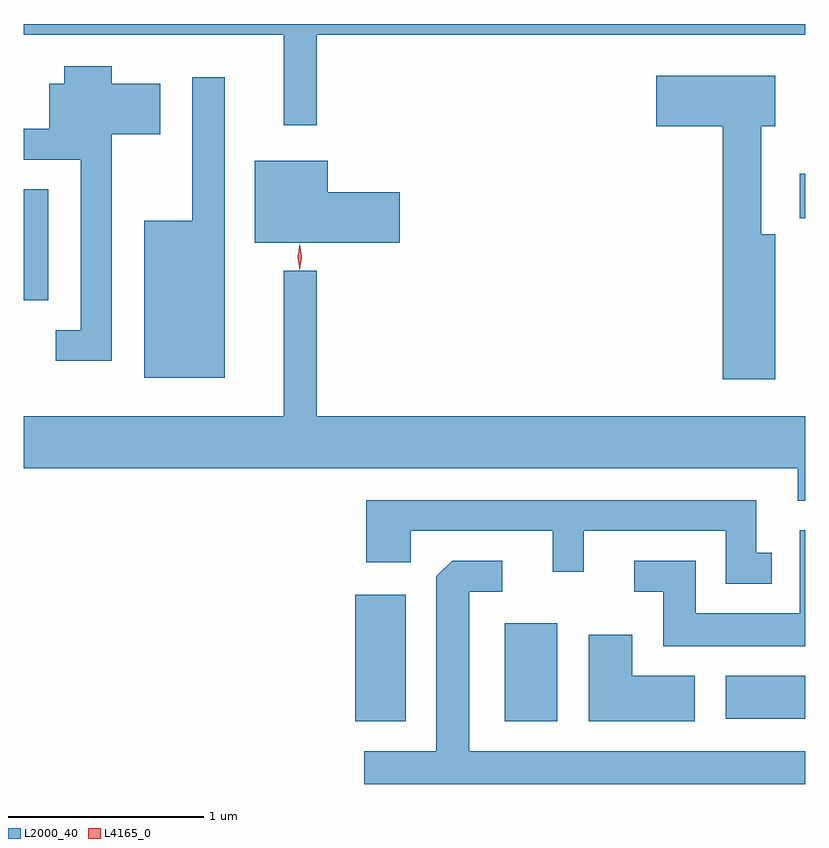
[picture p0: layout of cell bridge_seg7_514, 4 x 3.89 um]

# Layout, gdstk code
import gdstk
lib = gdstk.Library(unit=1e-6, precision=1e-09)
def R(c, l, rs):  # rectangles x0, y0, x1, y1
    for r in rs: c.add(gdstk.rectangle(r[:2], r[2:], *l))
def P(c, l, *ps):  # polygons
    for p in ps: c.add(gdstk.Polygon(p, *l))
L2000_40 = (2000, 40)
L4165_0 = (4165, 0)

bridge_seg7_514 = lib.new_cell('bridge_seg7_514')
R(bridge_seg7_514, L2000_40, [(856.846,1735.221,857.104,1735.869), (857.611,1735.221,857.879,1735.724), (858.741,1735.236,859.149,1735.454), (855.149,1737.376,855.274,1737.944), (859.121,1737.796,859.149,1738.024)])
P(bridge_seg7_514, L2000_40, [(856.649,1738.736),(859.149,1738.736),(859.149,1738.79),(855.149,1738.79),(855.149,1738.736),(856.481,1738.736),(856.481,1738.273),(856.649,1738.273)],
  [(855.599,1738.226),(855.849,1738.226),(855.849,1738.484),(855.599,1738.484),(855.599,1738.574),(855.356,1738.574),(855.356,1738.484),(855.281,1738.484),(855.281,1738.254),(855.149,1738.254),(855.149,1738.096),(855.441,1738.096),(855.441,1737.224),(855.313,1737.224),(855.313,1737.066),(855.599,1737.066)],
  [(858.994,1737.714),(858.924,1737.714),(858.924,1738.266),(858.994,1738.266),(858.994,1738.524),(858.386,1738.524),(858.386,1738.266),(858.726,1738.266),(858.726,1736.971),(858.994,1736.971)],
  [(856.179,1738.518),(856.011,1738.518),(856.011,1737.784),(855.766,1737.784),(855.766,1736.981),(856.179,1736.981)],
  [(857.074,1737.929),(856.704,1737.929),(856.704,1738.089),(856.331,1738.089),(856.331,1737.671),(857.074,1737.671)],
  [(859.149,1736.784),(856.649,1736.784),(856.649,1737.528),(856.481,1737.528),(856.481,1736.784),(855.149,1736.784),(855.149,1736.516),(859.111,1736.516),(859.111,1736.351),(859.149,1736.351)],
  [(858.978,1736.084),(858.899,1736.084),(858.899,1736.354),(856.901,1736.354),(856.901,1736.036),(857.129,1736.036),(857.129,1736.196),(857.856,1736.196),(857.856,1735.988),(858.014,1735.988),(858.014,1736.196),(858.741,1736.196),(858.741,1735.926),(858.978,1735.926)],
  [(859.149,1736.199),(859.121,1736.199),(859.121,1735.774),(858.589,1735.774),(858.589,1736.044),(858.273,1736.044),(858.273,1735.886),(858.421,1735.886),(858.421,1735.606),(859.149,1735.606)],
  [(859.149,1735.069),(857.429,1735.069),(857.429,1735.886),(857.598,1735.886),(857.598,1736.044),(857.342,1736.044),(857.261,1735.964),(857.261,1735.069),(856.893,1735.069),(856.893,1734.901),(859.149,1734.901)],
  [(858.584,1735.454),(858.264,1735.454),(858.264,1735.664),(858.041,1735.664),(858.041,1735.221),(858.584,1735.221)])
P(bridge_seg7_514, L4165_0, [(856.562,1737.533),(856.562,1737.533),(856.552,1737.596),(856.561,1737.659),(856.562,1737.66),(856.562,1737.659),(856.572,1737.596),(856.563,1737.533)],
  [(856.562,1737.53),(856.562,1737.53),(856.552,1737.598),(856.561,1737.665),(856.561,1737.666),(856.562,1737.665),(856.572,1737.598),(856.563,1737.53)])

lib.write_gds('bridge_seg7_514.gds')
